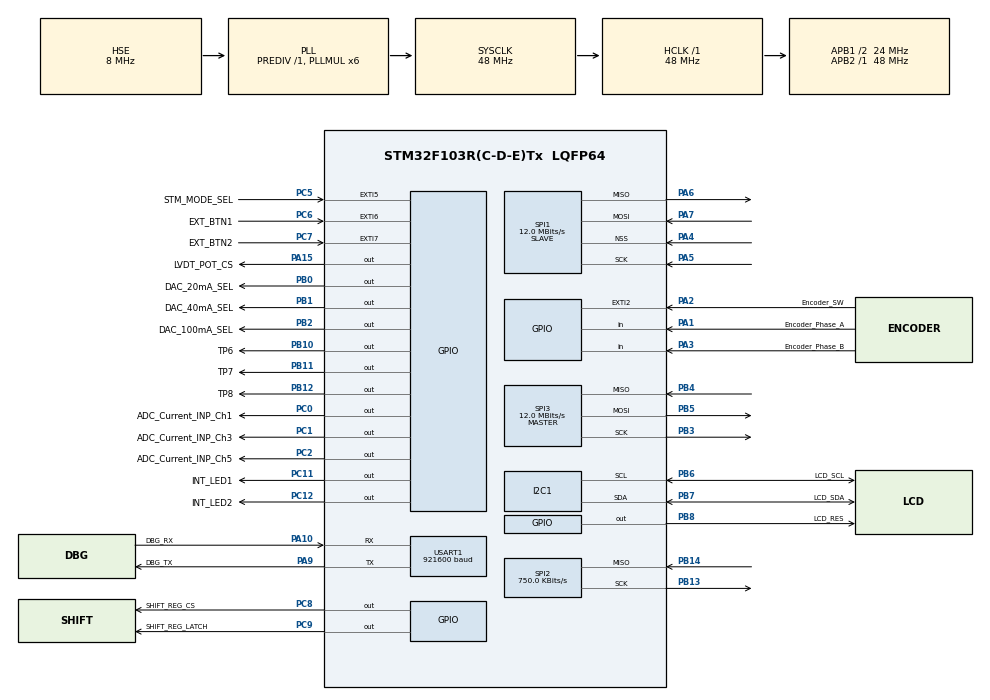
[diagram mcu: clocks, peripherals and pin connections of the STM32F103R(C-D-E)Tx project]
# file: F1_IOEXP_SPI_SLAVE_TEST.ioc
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Dma.Request0=USART1_TX
Dma.Request1=SPI1_RX
Dma.Request2=SPI1_TX
Dma.SPI1_RX.1.Direction=DMA_PERIPH_TO_MEMORY
Dma.SPI1_RX.1.Instance=DMA1_Channel2
Dma.SPI1_RX.1.MemDataAlignment=DMA_MDATAALIGN_BYTE
Dma.SPI1_RX.1.MemInc=DMA_MINC_ENABLE
Dma.SPI1_RX.1.Mode=DMA_CIRCULAR
Dma.SPI1_RX.1.PeriphDataAlignment=DMA_PDATAALIGN_BYTE
Dma.SPI1_RX.1.PeriphInc=DMA_PINC_DISABLE
Dma.SPI1_RX.1.Priority=DMA_PRIORITY_MEDIUM
Dma.SPI1_TX.2.Direction=DMA_MEMORY_TO_PERIPH
Dma.SPI1_TX.2.Instance=DMA1_Channel3
Dma.SPI1_TX.2.MemDataAlignment=DMA_MDATAALIGN_BYTE
Dma.SPI1_TX.2.MemInc=DMA_MINC_ENABLE
Dma.SPI1_TX.2.Mode=DMA_CIRCULAR
Dma.SPI1_TX.2.PeriphDataAlignment=DMA_PDATAALIGN_BYTE
Dma.SPI1_TX.2.PeriphInc=DMA_PINC_DISABLE
Dma.SPI1_TX.2.Priority=DMA_PRIORITY_VERY_HIGH
Dma.USART1_TX.0.Direction=DMA_MEMORY_TO_PERIPH
Dma.USART1_TX.0.Instance=DMA1_Channel4
Dma.USART1_TX.0.MemDataAlignment=DMA_MDATAALIGN_BYTE
Dma.USART1_TX.0.MemInc=DMA_MINC_ENABLE
Dma.USART1_TX.0.Mode=DMA_NORMAL
Dma.USART1_TX.0.PeriphDataAlignment=DMA_PDATAALIGN_BYTE
Dma.USART1_TX.0.PeriphInc=DMA_PINC_DISABLE
Dma.USART1_TX.0.Priority=DMA_PRIORITY_LOW
I2C1.I2C_Mode=I2C_Fast
Mcu.Family=STM32F1
Mcu.Name=STM32F103R(C-D-E)Tx
Mcu.Package=LQFP64
NVIC.DMA1_Channel2_IRQn=true\:0\:0\:false\:false\:true\:false\:true
NVIC.DMA1_Channel3_IRQn=true\:0\:0\:false\:false\:true\:false\:true
NVIC.DMA1_Channel4_IRQn=true\:0\:0\:false\:false\:true\:false\:true
NVIC.EXTI2_IRQn=true\:0\:0\:false\:false\:true\:true\:true
NVIC.EXTI9_5_IRQn=true\:0\:0\:false\:false\:true\:true\:true
NVIC.PriorityGroup=NVIC_PRIORITYGROUP_4
NVIC.SPI1_IRQn=true\:0\:0\:false\:false\:true\:true\:true
PA0-WKUP.Mode=SYS_WakeUp0
PA0-WKUP.Signal=SYS_WKUP
PA1.GPIO_Label=Encoder_Phase_A
PA1.GPIO_PuPd=GPIO_PULLUP
PA1.Signal=GPIO_Input
PA10.GPIO_Label=DBG_RX
PA10.Mode=Asynchronous
PA10.Signal=USART1_RX
PA13.Mode=Serial_Wire
PA13.Signal=SYS_JTMS-SWDIO
PA14.Mode=Serial_Wire
PA14.Signal=SYS_JTCK-SWCLK
PA15.GPIO_Label=LVDT_POT_CS
PA15.Signal=GPIO_Output
PA2.GPIO_Label=Encoder_SW
PA2.GPIO_PuPd=GPIO_PULLUP
PA2.Signal=GPXTI2
PA3.GPIO_Label=Encoder_Phase_B
PA3.GPIO_PuPd=GPIO_PULLUP
PA3.Signal=GPIO_Input
PA4.Mode=NSS_Signal_Hard_Input
PA4.Signal=SPI1_NSS
PA5.Mode=Full_Duplex_Slave
PA5.Signal=SPI1_SCK
PA6.Mode=Full_Duplex_Slave
PA6.Signal=SPI1_MISO
PA7.Mode=Full_Duplex_Slave
PA7.Signal=SPI1_MOSI
PA9.GPIO_Label=DBG_TX
PA9.Mode=Asynchronous
PA9.Signal=USART1_TX
PB0.GPIO_Label=DAC_20mA_SEL
PB0.Signal=GPIO_Output
PB1.GPIO_Label=DAC_40mA_SEL
PB1.Signal=GPIO_Output
PB10.GPIO_Label=TP6
PB10.Signal=GPIO_Output
PB11.GPIO_Label=TP7
PB11.Signal=GPIO_Output
PB12.GPIO_Label=TP8
PB12.Signal=GPIO_Output
PB13.Mode=RX_Only_Simplex_Unidirect_Master
PB13.Signal=SPI2_SCK
PB14.Mode=RX_Only_Simplex_Unidirect_Master
PB14.Signal=SPI2_MISO
PB2.GPIO_Label=DAC_100mA_SEL
PB2.Signal=GPIO_Output
PB3.Mode=Full_Duplex_Master
PB3.Signal=SPI3_SCK
PB4.Mode=Full_Duplex_Master
PB4.Signal=SPI3_MISO
PB5.Mode=Full_Duplex_Master
PB5.Signal=SPI3_MOSI
PB6.GPIO_Label=LCD_SCL
PB6.Mode=I2C
PB6.Signal=I2C1_SCL
PB7.GPIO_Label=LCD_SDA
PB7.Mode=I2C
PB7.Signal=I2C1_SDA
PB8.GPIO_Label=LCD_RES
PB8.PinState=GPIO_PIN_RESET
PB8.Signal=GPIO_Output
PC0.GPIO_Label=ADC_Current_INP_Ch1
PC0.PinState=GPIO_PIN_RESET
PC0.Signal=GPIO_Output
PC1.GPIO_Label=ADC_Current_INP_Ch3
PC1.PinState=GPIO_PIN_RESET
PC1.Signal=GPIO_Output
PC11.GPIO_Label=INT_LED1
PC11.Signal=GPIO_Output
PC12.GPIO_Label=INT_LED2
PC12.Signal=GPIO_Output
PC14-OSC32_IN.Mode=LSE-External-Oscillator
PC14-OSC32_IN.Signal=RCC_OSC32_IN
PC15-OSC32_OUT.Mode=LSE-External-Oscillator
PC15-OSC32_OUT.Signal=RCC_OSC32_OUT
PC2.GPIO_Label=ADC_Current_INP_Ch5
PC2.PinState=GPIO_PIN_RESET
PC2.Signal=GPIO_Output
PC5.GPIO_Label=STM_MODE_SEL
PC5.Signal=GPXTI5
PC6.GPIO_Label=EXT_BTN1
PC6.GPIO_PuPd=GPIO_PULLUP
PC6.Signal=GPXTI6
PC7.GPIO_Label=EXT_BTN2
PC7.GPIO_PuPd=GPIO_PULLUP
PC7.Signal=GPXTI7
PC8.GPIO_Label=SHIFT_REG_CS
PC8.PinState=GPIO_PIN_SET
PC8.Signal=GPIO_Output
PC9.GPIO_Label=SHIFT_REG_LATCH
PC9.Signal=GPIO_Output
PD0-OSC_IN.Mode=HSE-External-Oscillator
PD0-OSC_IN.Signal=RCC_OSC_IN
PD1-OSC_OUT.Mode=HSE-External-Oscillator
PD1-OSC_OUT.Signal=RCC_OSC_OUT
ProjectManager.HeapSize=0x200
ProjectManager.StackSize=0x400
ProjectManager.TargetToolchain=STM32CubeIDE
RCC.AHBFreq_Value=48000000
RCC.APB1CLKDivider=RCC_HCLK_DIV2
RCC.APB1Freq_Value=24000000
RCC.APB1TimFreq_Value=48000000
RCC.APB2Freq_Value=48000000
RCC.APB2TimFreq_Value=48000000
RCC.HCLKFreq_Value=48000000
RCC.PLLMUL=RCC_PLL_MUL6
RCC.PLLSourceVirtual=RCC_PLLSOURCE_HSE
RCC.SYSCLKFreq_VALUE=48000000
RCC.SYSCLKSource=RCC_SYSCLKSOURCE_PLLCLK
RCC.USBFreq_Value=48000000
SPI1.BaudRatePrescaler=SPI_BAUDRATEPRESCALER_4
SPI1.CLKPhase=SPI_PHASE_1EDGE
SPI1.CalculateBaudRate=12.0 MBits/s
SPI1.Direction=SPI_DIRECTION_2LINES
SPI1.Mode=SPI_MODE_SLAVE
SPI1.VirtualNSS=VM_NSSHARD
SPI1.VirtualType=VM_SLAVE
SPI2.BaudRatePrescaler=SPI_BAUDRATEPRESCALER_32
SPI2.CLKPhase=SPI_PHASE_1EDGE
SPI2.CLKPolarity=SPI_POLARITY_HIGH
SPI2.CRCCalculation=SPI_CRCCALCULATION_DISABLE
SPI2.CalculateBaudRate=750.0 KBits/s
SPI2.Direction=SPI_DIRECTION_2LINES_RXONLY
SPI2.Mode=SPI_MODE_MASTER
SPI2.VirtualType=VM_MASTER
SPI3.CLKPhase=SPI_PHASE_1EDGE
SPI3.CalculateBaudRate=12.0 MBits/s
SPI3.Direction=SPI_DIRECTION_2LINES
SPI3.Mode=SPI_MODE_MASTER
SPI3.VirtualType=VM_MASTER
USART1.BaudRate=921600
USART1.VirtualMode=VM_ASYNC
board=custom

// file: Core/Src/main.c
/* USER CODE BEGIN Header */
/**
 ******************************************************************************
 * @file           : main.c
 * @brief          : Main program body
 ******************************************************************************
 * @attention
 *
 * <h2><center>&copy; Copyright (c) 2021 STMicroelectronics.
 * All rights reserved.</center></h2>
 *
 * This software component is licensed by ST under BSD 3-Clause license,
 * the "License"; You may not use this file except in compliance with the
 * License. You may obtain a copy of the License at:
 *                        opensource.org/licenses/BSD-3-Clause
 *
 ******************************************************************************
 */
/* USER CODE END Header */

#include "main.h"
#include "dma.h"
#include "i2c.h"
#include "spi.h"
#include "usart.h"
#include "gpio.h"

/* USER CODE BEGIN Includes */
#include <string.h>
#include "rt_bus_proto.h"
#include "io.h"
#include "ad529x.h"
#include "ssi.h"
/* USER CODE END Includes */

/* USER CODE BEGIN PD */
//#define SPI_BUF_SIZE 2048
/* USER CODE END PD */

/* USER CODE BEGIN PV */
extern SPI_HandleTypeDef hspi1;
extern DMA_HandleTypeDef hdma_spi1_rx;
extern DMA_HandleTypeDef hdma_spi1_tx;
/*uint8_t rData[SPI_BUF_SIZE];
uint8_t tData[SPI_BUF_SIZE];*/
uint16_t currentDMA = SPI_TX_BUF_SIZE;
uint16_t prevDMA = SPI_TX_BUF_SIZE;
uint8_t gRunMode = RT_RunMode_None;
uint8_t gStayInBootloader = 0;
extern uint8_t gSPI_Tx_Buf[SPI_TX_BUF_SIZE];
extern uint8_t gSPI_Rx_Buf[SPI_RX_BUF_SIZE];
uint8_t g_comms_mode = COMMS_MODE_PDIO;
extern tPDO g_PDO;
extern tPDI g_PDI;

int counter =0;
uint8_t currentStateB;
uint8_t  previousStateB;
/* USER CODE END PV */

void SystemClock_Config(void);
/* USER CODE BEGIN PFP */
void SPI_DMA_Reset();
/* USER CODE END PFP */

int main(void)
{

  /* MCU Configuration--------------------------------------------------------*/

  /* Reset of all peripherals, Initializes the Flash interface and the Systick. */

	HAL_Init();

  /* Configure the system clock */
  SystemClock_Config();

  /* Initialize all configured peripherals */
  MX_GPIO_Init();
  MX_DMA_Init();
  MX_USART1_UART_Init();
  MX_SPI1_Init();
  MX_SPI2_Init();
  MX_SPI3_Init();
  MX_I2C1_Init();
  /* USER CODE BEGIN 2 */
	AD529x_Init();
	SH1107_Init();
	LP55231_Init();
	memset(gSPI_Tx_Buf,0,SPI_TX_BUF_SIZE);
	//HAL_SPI_TransmitReceive_DMA(&hspi1,gSPI_Tx_Buf, gSPI_Rx_Buf, SPI_TX_BUF_SIZE);
  /* USER CODE END 2 */

  /* Infinite loop */
  /* USER CODE BEGIN WHILE */
	dbprintf("Rota SPI Test Application");
#if 0
	uint8_t output_count = 0;
	while(1){
		io_update();
		g_PDI.dout = ~g_PDI.dout;
		HAL_GPIO_TogglePin(INT_LED1_GPIO_Port, INT_LED1_Pin);
		//HAL_Delay(1000);
	}

	while(1){
		//set_output(output);
		io_update_old(output_count++);
		if(output_count >= (12*8)){
			output_count = 0;
			g_PDI.dout = ~g_PDI.dout;
		}
		//HAL_Delay(2000);
		//dbprintf("Output Value: %d",output);
		HAL_GPIO_TogglePin(INT_LED1_GPIO_Port, INT_LED1_Pin);
	}

#endif

#if 0
	uint32_t time = 200;
	/* Led Driver Test */
	while(1){
		for(int i =1 ;i<4;i++){
			LP55231_SetColor(i,0x50FF0000);
			HAL_Delay(time);
		}
		for(int i =1 ;i<4;i++){
			LP55231_SetColor(i,0x5000FF00);
			HAL_Delay(time);
		}

		for(int i =1 ;i<4;i++){
			LP55231_SetColor(i,0x500000FF);
			HAL_Delay(time);
		}

		for(int i =1 ;i<4;i++){
			LP55231_SetColor(i,0x5033FFFF);
			HAL_Delay(time);
		}

		for(int i =1 ;i<4;i++){
			LP55231_SetColor(i,0x50FF3399);
			HAL_Delay(time);
		}
		SH1107_WriteLine("Rota Teknik  Rota Teknik  Rota Teknik   Rota Teknik", &Font_11x18, White);
		/*if(HAL_GetTick() >= next)
		{
			next += 1000;

			dbprintf("Illuminating: %d",current);

			LP55231_SetChannelPWM(previous, 0);
			LP55231_SetChannelPWM(current, 50);

			previous = current;
			current++;
			if(current >= LP55231_NumChannels)
			{
				current = 0;
			}
		}*/

	}
#endif

#if 0
	/*Encoder Test*/
	previousStateB = HAL_GPIO_ReadPin(Encoder_Phase_B_GPIO_Port, Encoder_Phase_B_Pin);
	//SH1107_WriteString("Deneme12345Deneme12345Deneme12345Deneme12345Deneme12345Deneme12345Deneme12345Deneme12345Deneme12345Deneme12345Deneme12345Deneme12345", &Font_11x18, White);
	//SH1107_WriteString("Deneme1234Deneme1234Deneme1234Deneme1234Deneme1234", &Font_11x18, White);
	/*SH1107_WriteLine("Deneme12345", &Font_11x18, White);
	SH1107_WriteLine("DenemeDeneme", &Font_11x18, White);*/
	while(1){
		currentStateB = HAL_GPIO_ReadPin(Encoder_Phase_B_GPIO_Port, Encoder_Phase_B_Pin);
		if(currentStateB != previousStateB){
			if(HAL_GPIO_ReadPin(Encoder_Phase_A_GPIO_Port, Encoder_Phase_A_Pin) != currentStateB){
				counter--;
				dbprintf("Rotate CCW\t value: %d",counter);
			}else{
				counter++;
				dbprintf("Rotate CW\t value: %d",counter);
			}
		}
		previousStateB = currentStateB;
	}
#endif
#if 0
	/* Digital pot test */
	int resVal = 0;
	int tempOut = 0;
	while(1){
		/*0io_update();
		if(tempOut != g_PDI.dout){
			dbprintf("Output : 0x%08X", g_PDI.dout);
			tempOut = g_PDI.dout;
		}
		g_PDI.dout = ~g_PDI.dout;
		HAL_Delay(1000);*/
		//resVal += 100;
		resVal =4000;
		AD529x_SetResistor(resVal);
		if(resVal > MAX_RES_VALUE)
			resVal = 0;
		HAL_Delay(20);
	}
#endif
#if 1
	float resVal = 0.0f;
	while (1)
	{
    /* USER CODE END WHILE */

    /* USER CODE BEGIN 3 */
		g_PDO.ssi = ssi_read();
		memcpy(&resVal, &g_PDI.resistor,sizeof(float));
		resVal *= 1000;
		if(resVal > MAX_RES_VALUE)
			resVal = MAX_RES_VALUE;
		AD529x_SetResistor(resVal);
		if(g_comms_mode == COMMS_MODE_PDIO){
			rt_get_io_values();
		}/*else{
			//rt_bus_proto_bl_dt();
		}*/
	}
#endif
  /* USER CODE END 3 */
}

void SystemClock_Config(void)
{
  RCC_OscInitTypeDef RCC_OscInitStruct = {0};
  RCC_ClkInitTypeDef RCC_ClkInitStruct = {0};

  /** Initializes the CPU, AHB and APB busses clocks
  */
  RCC_OscInitStruct.OscillatorType = RCC_OSCILLATORTYPE_HSE;
  RCC_OscInitStruct.HSEState = RCC_HSE_ON;
  RCC_OscInitStruct.HSEPredivValue = RCC_HSE_PREDIV_DIV1;
  RCC_OscInitStruct.HSIState = RCC_HSI_ON;
  RCC_OscInitStruct.PLL.PLLState = RCC_PLL_ON;
  RCC_OscInitStruct.PLL.PLLSource = RCC_PLLSOURCE_HSE;
  RCC_OscInitStruct.PLL.PLLMUL = RCC_PLL_MUL6;
  if (HAL_RCC_OscConfig(&RCC_OscInitStruct) != HAL_OK)
  {
    Error_Handler();
  }
  /** Initializes the CPU, AHB and APB busses clocks
  */
  RCC_ClkInitStruct.ClockType = RCC_CLOCKTYPE_HCLK|RCC_CLOCKTYPE_SYSCLK
                              |RCC_CLOCKTYPE_PCLK1|RCC_CLOCKTYPE_PCLK2;
  RCC_ClkInitStruct.SYSCLKSource = RCC_SYSCLKSOURCE_PLLCLK;
  RCC_ClkInitStruct.AHBCLKDivider = RCC_SYSCLK_DIV1;
  RCC_ClkInitStruct.APB1CLKDivider = RCC_HCLK_DIV2;
  RCC_ClkInitStruct.APB2CLKDivider = RCC_HCLK_DIV1;

  if (HAL_RCC_ClockConfig(&RCC_ClkInitStruct, FLASH_LATENCY_1) != HAL_OK)
  {
    Error_Handler();
  }
}

/* USER CODE BEGIN 4 */
void HAL_GPIO_EXTI_Callback(uint16_t GPIO_Pin)
{
	switch(GPIO_Pin){
	case STM_MODE_SEL_Pin:
		if(HAL_GPIO_ReadPin(STM_MODE_SEL_GPIO_Port, STM_MODE_SEL_Pin)){
			g_comms_mode = COMMS_MODE_PDIO;
			dbprintf("PDIO Mode");
		}else{
			g_comms_mode = COMMS_MODE_CONF;
			dbprintf("CONF Mode");
		}
		break;

	case EXT_BTN1_Pin:
		dbprintf("BTN1 Pressed.");
		break;
	case EXT_BTN2_Pin:
		dbprintf("BTN2 Pressed.");
		break;
	case Encoder_SW_Pin:
		dbprintf("Encoder Button Pressed.");
		break;
	}
}

void HAL_SPI_TxRxCpltCallback(SPI_HandleTypeDef *hspi)
{
	dbprintf("%s",__func__);
	SPI_DMA_Reset();
}
/* USER CODE END 4 */

void Error_Handler(void)
{
  /* USER CODE BEGIN Error_Handler_Debug */
	/* User can add his own implementation to report the HAL error return state */
	dbprintf("%s",__func__);
  /* USER CODE END Error_Handler_Debug */
}

/************************ (C) COPYRIGHT STMicroelectronics *****END OF FILE****/
